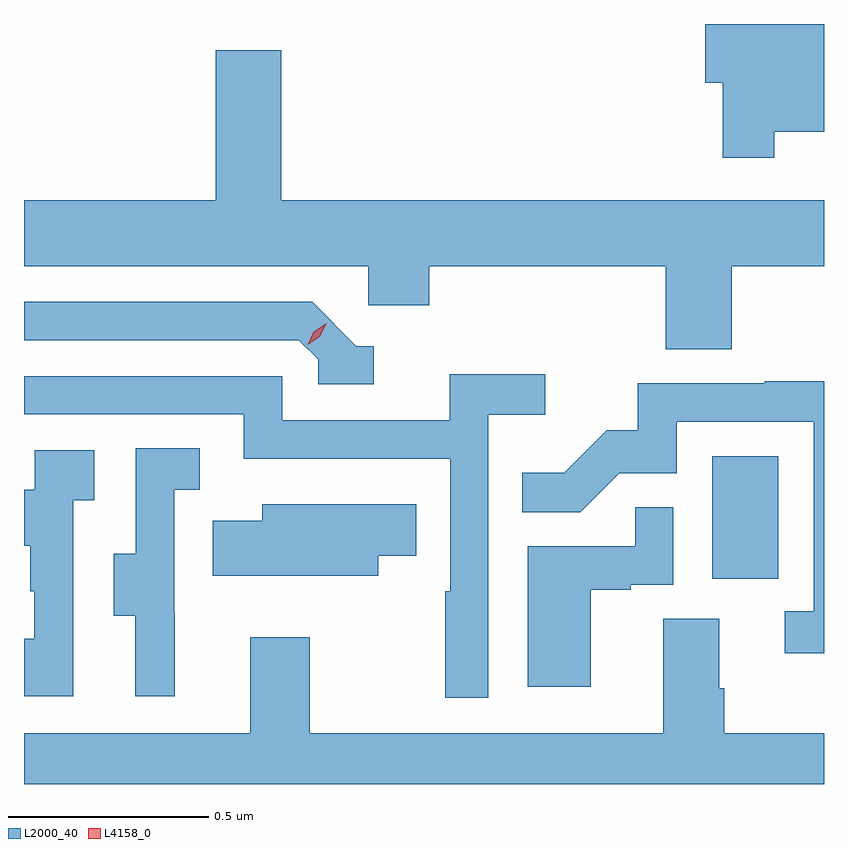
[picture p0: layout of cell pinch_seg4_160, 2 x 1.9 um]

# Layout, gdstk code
import gdstk
lib = gdstk.Library(unit=1e-6, precision=1e-09)
def R(c, l, rs):  # rectangles x0, y0, x1, y1
    for r in rs: c.add(gdstk.rectangle(r[:2], r[2:], *l))
def P(c, l, *ps):  # polygons
    for p in ps: c.add(gdstk.Polygon(p, *l))
L2000_40 = (2000, 40)
L4158_0 = (4158, 0)

pinch_seg4_160 = lib.new_cell('pinch_seg4_160')
R(pinch_seg4_160, L2000_40, [(1125.29,793.374,1125.454,793.681)])
P(pinch_seg4_160, L2000_40, [(1125.445,794.492),(1125.569,794.492),(1125.569,794.761),(1125.272,794.761),(1125.272,794.614),(1125.316,794.614),(1125.316,794.427),(1125.445,794.427)],
  [(1125.338,794.156),(1125.569,794.156),(1125.569,794.32),(1124.212,794.32),(1124.212,794.695),(1124.048,794.695),(1124.048,794.32),(1123.569,794.32),(1123.569,794.156),(1124.43,794.156),(1124.43,794.058),(1124.582,794.058),(1124.582,794.156),(1125.173,794.156),(1125.173,793.948),(1125.338,793.948)],
  [(1124.443,793.956),(1124.4,793.956),(1124.289,794.067),(1123.569,794.067),(1123.569,793.971),(1124.256,793.971),(1124.304,793.923),(1124.304,793.86),(1124.443,793.86)],
  [(1124.73,793.784),(1124.872,793.784),(1124.872,793.886),(1124.633,793.886),(1124.633,793.77),(1124.214,793.77),(1124.214,793.881),(1123.569,793.881),(1123.569,793.785),(1124.118,793.785),(1124.118,793.674),(1124.634,793.674),(1124.634,793.343),(1124.622,793.343),(1124.622,793.077),(1124.73,793.077)],
  [(1125.569,793.868),(1125.421,793.868),(1125.421,793.863),(1125.103,793.863),(1125.103,793.746),(1125.026,793.746),(1124.919,793.639),(1124.815,793.639),(1124.815,793.54),(1124.959,793.54),(1125.057,793.638),(1125.201,793.638),(1125.201,793.767),(1125.543,793.767),(1125.543,793.293),(1125.471,793.293),(1125.471,793.188),(1125.569,793.188)],
  [(1123.946,793.293),(1123.944,793.293),(1123.944,793.597),(1124.008,793.597),(1124.008,793.7),(1123.848,793.7),(1123.848,793.437),(1123.793,793.437),(1123.793,793.282),(1123.847,793.282),(1123.847,793.08),(1123.946,793.08)],
  [(1123.692,793.571),(1123.744,793.571),(1123.744,793.695),(1123.596,793.695),(1123.596,793.597),(1123.569,793.597),(1123.569,793.457),(1123.584,793.457),(1123.584,793.343),(1123.594,793.343),(1123.594,793.224),(1123.569,793.224),(1123.569,793.08),(1123.692,793.08)],
  [(1124.455,793.432),(1124.549,793.432),(1124.549,793.561),(1124.165,793.561),(1124.165,793.519),(1124.041,793.519),(1124.041,793.382),(1124.455,793.382)],
  [(1124.986,793.347),(1125.086,793.347),(1125.086,793.359),(1125.192,793.359),(1125.192,793.553),(1125.097,793.553),(1125.097,793.455),(1124.828,793.455),(1124.828,793.104),(1124.986,793.104)],
  [(1125.569,792.988),(1125.32,792.988),(1125.32,793.1),(1125.307,793.1),(1125.307,793.274),(1125.167,793.274),(1125.167,792.988),(1124.283,792.988),(1124.283,793.228),(1124.135,793.228),(1124.135,792.988),(1123.569,792.988),(1123.569,792.861),(1125.569,792.861)])
P(pinch_seg4_160, L4158_0, [(1124.278,793.959),(1124.278,793.959),(1124.293,793.992),(1124.323,794.012),(1124.324,794.012),(1124.324,794.012),(1124.308,793.979),(1124.278,793.959)])

lib.write_gds('pinch_seg4_160.gds')
